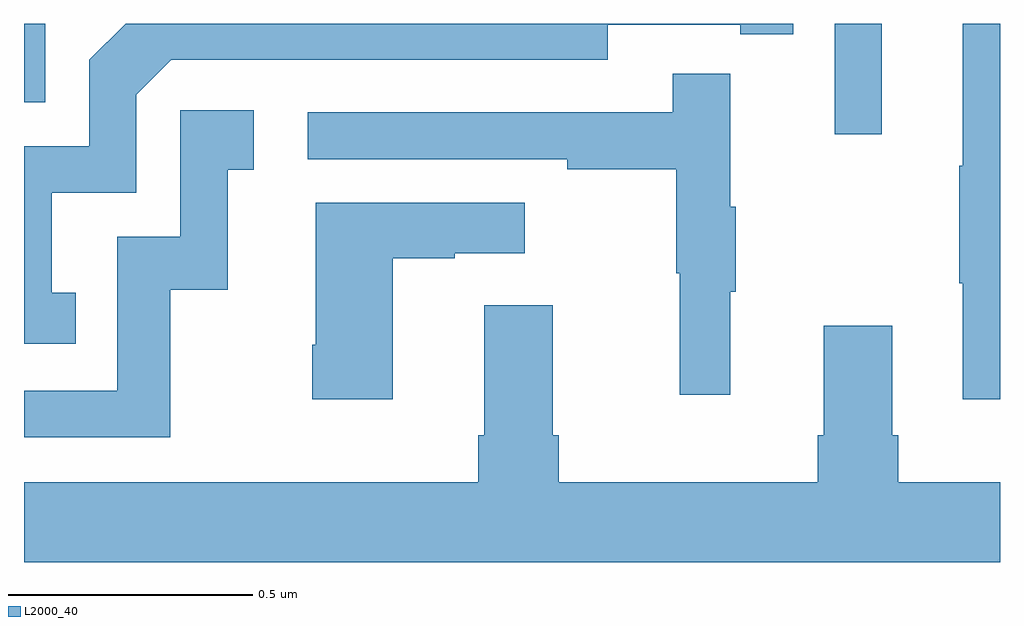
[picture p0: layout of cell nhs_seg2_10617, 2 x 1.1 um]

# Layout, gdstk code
import gdstk
lib = gdstk.Library(unit=1e-6, precision=1e-09)
def R(c, l, rs):  # rectangles x0, y0, x1, y1
    for r in rs: c.add(gdstk.rectangle(r[:2], r[2:], *l))
def P(c, l, *ps):  # polygons
    for p in ps: c.add(gdstk.Polygon(p, *l))
L2000_40 = (2000, 40)

nhs_seg2_10617 = lib.new_cell('nhs_seg2_10617')
R(nhs_seg2_10617, L2000_40, [(245.661,588.573,245.758,588.8), (244,588.639,244.044,588.8)])
P(nhs_seg2_10617, L2000_40, [(246,588.8),(245.924,588.8),(245.924,588.509),(245.917,588.509),(245.917,588.268),(245.924,588.268),(245.924,588.03),(246,588.03)],
  [(244.106,588.249),(244.057,588.249),(244.057,588.453),(244.23,588.453),(244.23,588.654),(244.302,588.726),(245.196,588.726),(245.196,588.798),(245.468,588.798),(245.468,588.778),(245.576,588.778),(245.576,588.8),(244.208,588.8),(244.134,588.726),(244.134,588.549),(244,588.549),(244,588.144),(244.106,588.144)],
  [(245.447,588.251),(245.458,588.251),(245.458,588.425),(245.447,588.425),(245.447,588.697),(245.329,588.697),(245.329,588.618),(244.581,588.618),(244.581,588.522),(245.113,588.522),(245.113,588.502),(245.337,588.502),(245.337,588.288),(245.344,588.288),(245.344,588.039),(245.447,588.039)],
  [(244.3,588.255),(244.418,588.255),(244.418,588.501),(244.471,588.501),(244.471,588.622),(244.32,588.622),(244.32,588.363),(244.191,588.363),(244.191,588.048),(244,588.048),(244,587.952),(244.3,587.952)],
  [(244.756,588.319),(244.883,588.319),(244.883,588.329),(245.026,588.329),(245.026,588.433),(244.598,588.433),(244.598,588.142),(244.591,588.142),(244.591,588.03),(244.756,588.03)],
  [(246,587.86),(245.792,587.86),(245.792,587.956),(245.779,587.956),(245.779,588.181),(245.639,588.181),(245.639,587.956),(245.627,587.956),(245.627,587.86),(245.096,587.86),(245.096,587.956),(245.083,587.956),(245.083,588.223),(244.943,588.223),(244.943,587.956),(244.931,587.956),(244.931,587.86),(244,587.86),(244,587.696),(246,587.696)])

lib.write_gds('nhs_seg2_10617.gds')
